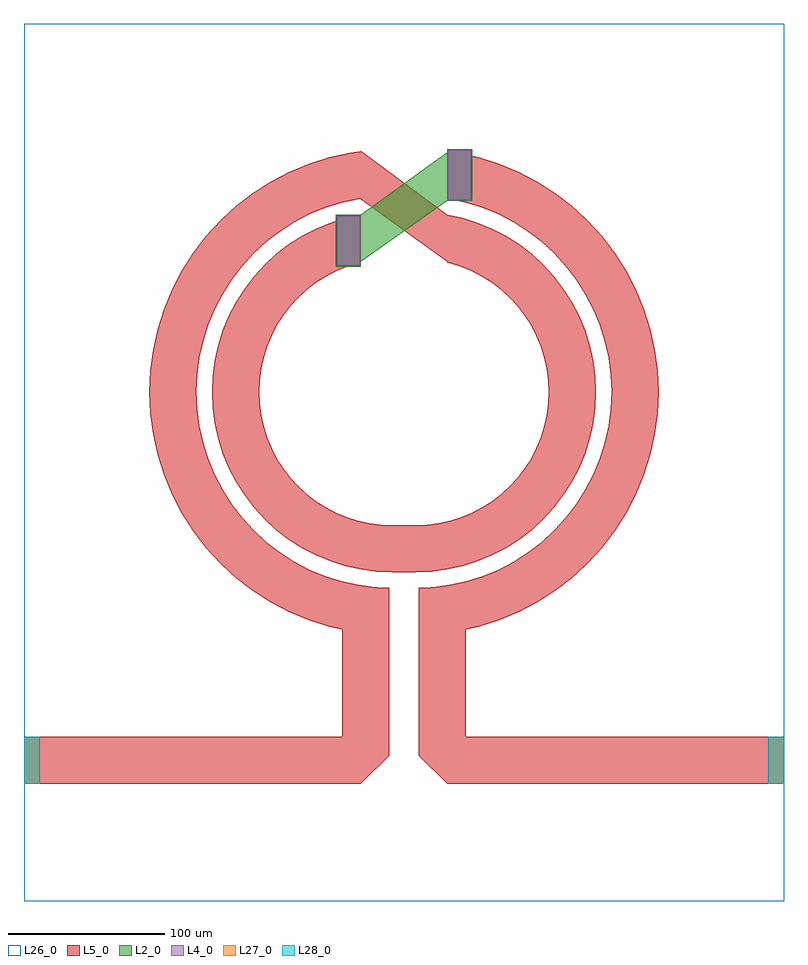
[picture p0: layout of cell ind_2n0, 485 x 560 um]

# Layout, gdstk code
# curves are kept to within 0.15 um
import gdstk
lib = gdstk.Library(unit=1e-6, precision=5e-10)
def R(c, l, rs):  # rectangles x0, y0, x1, y1
    for r in rs: c.add(gdstk.rectangle(r[:2], r[2:], *l))
def P(c, l, *ps):  # polygons
    for p in ps: c.add(gdstk.Polygon(p, *l))
L2_0 = (2, 0)
L4_0 = (4, 0)
L5_0 = (5, 0)
L26_0 = (26, 0)
L27_0 = (27, 0)
L28_0 = (28, 0)

ind_2n0 = lib.new_cell('ind_2n0')
R(ind_2n0, L2_0, [(-43,330,-27,363), (-43,333,-27,363), (28,372,44,405), (28,372,44,403)])
P(ind_2n0, L2_0, [(-27,333),(28,372),(28,403),(-27,363)])
R(ind_2n0, L4_0, [(-42.5,330.5,-27.5,362.5), (28.5,372.5,43.5,404.5)])
R(ind_2n0, L5_0, [(-242,0,-227,30), (228,0,243,30), (-39,75,-9,125), (10,75,40,125), (-7,135,8,165), (-43,330,-27,363), (28,372,44,405)])
P(ind_2n0, L5_0, [(243,30),(40,30),(40,75),(10,75),(10,18),(28,0),(243,0)],
  [(28,373.3255),(40.3525,370.7405),(50.7525,367.4615),(60.8275,363.2885),(70.5,358.253),(79.697,352.394),(88.3485,345.7555),(96.3885,338.3885),(103.7555,330.3485),(110.394,321.697),(116.253,312.5),(121.2885,302.8275),(125.4615,292.7525),(128.7405,282.3525),(131.101,271.706),(132.5245,260.8945),(133,250),(132.5245,239.1055),(131.101,228.294),(128.7405,217.6475),(125.4615,207.2475),(121.2885,197.1725),(116.253,187.5),(110.394,178.303),(103.7555,169.6515),(96.3885,161.6115),(88.3485,154.2445),(79.697,147.606),(70.5,141.747),(60.8275,136.7115),(50.7525,132.5385),(40.3525,129.2595),(29.706,126.899),(18,125.4365),(18,95.4365),(21.509,95.59),(34.9155,97.355),(48.117,100.2815),(61.013,104.3475),(73.506,109.5225),(85.5,115.766),(96.9045,123.0315),(107.632,131.263),(117.6015,140.3985),(126.737,150.368),(134.9685,161.0955),(142.234,172.5),(148.4775,184.494),(153.6525,196.987),(157.7185,209.883),(160.645,223.0845),(162.41,236.491),(163,250),(162.41,263.509),(160.645,276.9155),(157.7185,290.117),(153.6525,303.013),(148.4775,315.506),(142.234,327.5),(134.9685,338.9045),(126.737,349.632),(117.6015,359.6015),(107.632,368.737),(96.9045,376.9685),(85.5,384.234),(73.506,390.4775),(61.013,395.6525),(48.117,399.7185),(34.9155,402.645),(28,403.5555)],
  [(15.408,165.3235),(22.76,166.2915),(29.9995,167.8965),(37.0715,170.126),(43.9225,172.964),(50.5,176.388),(56.754,180.372),(62.637,184.886),(68.104,189.896),(73.114,195.363),(77.628,201.246),(81.612,207.5),(85.036,214.0775),(87.874,220.9285),(90.1035,228.0005),(91.7085,235.24),(92.6765,242.592),(93,250),(92.6765,257.408),(91.7085,264.76),(90.1035,271.9995),(87.874,279.0715),(85.036,285.9225),(81.612,292.5),(77.628,298.754),(73.114,304.637),(68.104,310.104),(62.637,315.114),(56.754,319.628),(50.5,323.612),(43.9225,327.036),(37.0715,329.874),(28,332.547),(28,363.246),(37.764,361.0815),(47.3325,358.0645),(56.601,354.2255),(65.5,349.593),(73.9615,344.2025),(81.9205,338.095),(89.3175,331.3175),(96.095,323.9205),(102.2025,315.9615),(107.593,307.5),(112.2255,298.601),(116.0645,289.3325),(119.0815,279.764),(121.253,269.9695),(122.5625,260.023),(123,250),(122.5625,239.977),(121.253,230.0305),(119.0815,220.236),(116.0645,210.6675),(112.2255,201.399),(107.593,192.5),(102.2025,184.0385),(96.095,176.0795),(89.3175,168.6825),(81.9205,161.905),(73.9615,155.7975),(65.5,150.407),(56.601,145.7745),(47.3325,141.9355),(37.764,138.9185),(27.9695,136.747),(18.023,135.4375),(8,135),(8,165)],
  [(-27,404),(28,363),(28,333),(-27,373)],
  [(-14.408,165.3235),(-21.76,166.2915),(-28.9995,167.8965),(-36.0715,170.126),(-42.9225,172.964),(-49.5,176.388),(-55.754,180.372),(-61.637,184.886),(-67.104,189.896),(-72.114,195.363),(-76.628,201.246),(-80.612,207.5),(-84.036,214.0775),(-86.874,220.9285),(-89.1035,228.0005),(-90.7085,235.24),(-91.6765,242.592),(-92,250),(-91.6765,257.408),(-90.7085,264.76),(-89.1035,271.9995),(-86.874,279.0715),(-84.036,285.9225),(-80.612,292.5),(-76.628,298.754),(-72.114,304.637),(-67.104,310.104),(-61.637,315.114),(-55.754,319.628),(-49.5,323.612),(-42.9225,327.036),(-36.0715,329.874),(-27,332.547),(-27,363.246),(-36.764,361.0815),(-46.3325,358.0645),(-55.601,354.2255),(-64.5,349.593),(-72.9615,344.2025),(-80.9205,338.095),(-88.3175,331.3175),(-95.095,323.9205),(-101.2025,315.9615),(-106.593,307.5),(-111.2255,298.601),(-115.0645,289.3325),(-118.0815,279.764),(-120.253,269.9695),(-121.5625,260.023),(-122,250),(-121.5625,239.977),(-120.253,230.0305),(-118.0815,220.236),(-115.0645,210.6675),(-111.2255,201.399),(-106.593,192.5),(-101.2025,184.0385),(-95.095,176.0795),(-88.3175,168.6825),(-80.9205,161.905),(-72.9615,155.7975),(-64.5,150.407),(-55.601,145.7745),(-46.3325,141.9355),(-36.764,138.9185),(-26.9695,136.747),(-17.023,135.4375),(-7,135),(-7,165)],
  [(-242,30),(-39,30),(-39,75),(-9,75),(-9,18),(-27,0),(-242,0)],
  [(-27,403.5555),(-33.9155,402.645),(-47.117,399.7185),(-60.013,395.6525),(-72.506,390.4775),(-84.5,384.234),(-95.9045,376.9685),(-106.632,368.737),(-116.6015,359.6015),(-125.737,349.632),(-133.9685,338.9045),(-141.234,327.5),(-147.4775,315.506),(-152.6525,303.013),(-156.7185,290.117),(-159.645,276.9155),(-161.41,263.509),(-162,250),(-161.41,236.491),(-159.645,223.0845),(-156.7185,209.883),(-152.6525,196.987),(-147.4775,184.494),(-141.234,172.5),(-133.9685,161.0955),(-125.737,150.368),(-116.6015,140.3985),(-106.632,131.263),(-95.9045,123.0315),(-84.5,115.766),(-72.506,109.5225),(-60.013,104.3475),(-47.117,100.2815),(-33.9155,97.355),(-20.509,95.59),(-17,95.4365),(-17,125.4365),(-28.706,126.899),(-39.3525,129.2595),(-49.7525,132.5385),(-59.8275,136.7115),(-69.5,141.747),(-78.697,147.606),(-87.3485,154.2445),(-95.3885,161.6115),(-102.7555,169.6515),(-109.394,178.303),(-115.253,187.5),(-120.2885,197.1725),(-124.4615,207.2475),(-127.7405,217.6475),(-130.101,228.294),(-131.5245,239.1055),(-132,250),(-131.5245,260.8945),(-130.101,271.706),(-127.7405,282.3525),(-124.4615,292.7525),(-120.2885,302.8275),(-115.253,312.5),(-109.394,321.697),(-102.7555,330.3485),(-95.3885,338.3885),(-87.3485,345.7555),(-78.697,352.394),(-69.5,358.253),(-59.8275,363.2885),(-49.7525,367.4615),(-39.3525,370.7405),(-27,373.3255)])
R(ind_2n0, L26_0, [(-242,-75,243,485)])
R(ind_2n0, L27_0, [(-242,0,-232,30), (233,0,243,30)])
R(ind_2n0, L28_0, [(-242,0,-232,30), (233,0,243,30)])

lib.write_gds('ind_2n0.gds')
